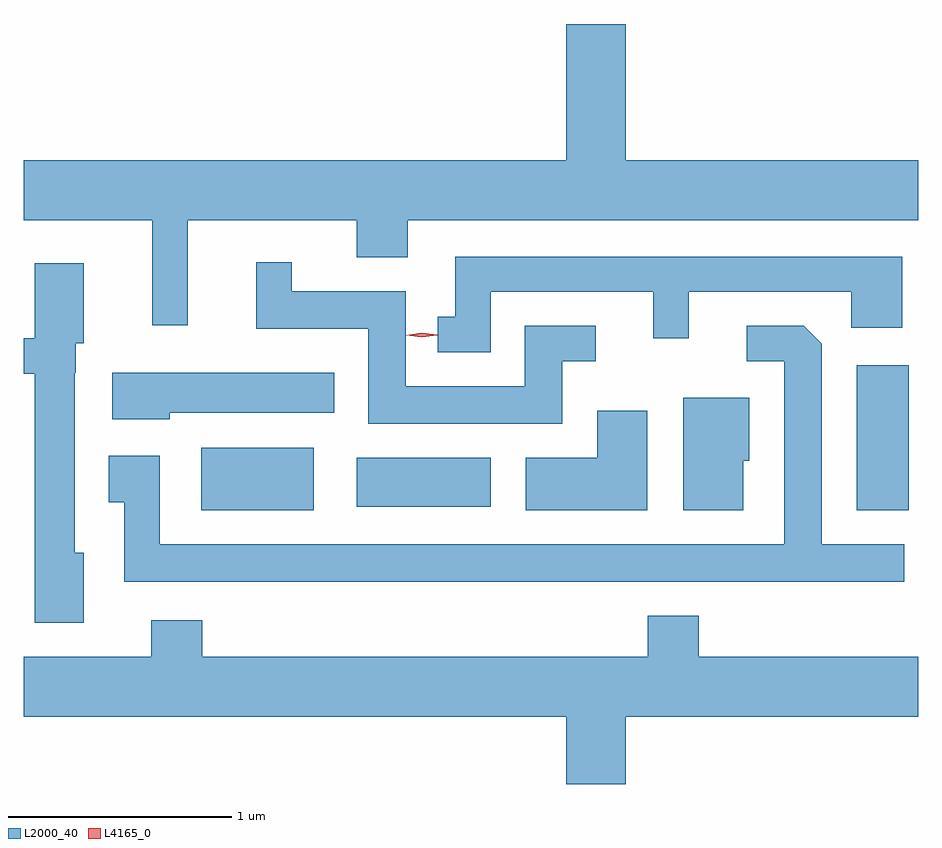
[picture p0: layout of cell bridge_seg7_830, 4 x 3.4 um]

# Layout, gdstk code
import gdstk
lib = gdstk.Library(unit=1e-6, precision=1e-09)
def R(c, l, rs):  # rectangles x0, y0, x1, y1
    for r in rs: c.add(gdstk.rectangle(r[:2], r[2:], *l))
def P(c, l, *ps):  # polygons
    for p in ps: c.add(gdstk.Polygon(p, *l))
L2000_40 = (2000, 40)
L4165_0 = (4165, 0)

bridge_seg7_830 = lib.new_cell('bridge_seg7_830')
R(bridge_seg7_830, L2000_40, [(313.346,1673.061,313.849,1673.339), (316.276,1673.061,316.509,1673.709), (314.041,1673.076,314.639,1673.294)])
P(bridge_seg7_830, L2000_40, [(313.284,1674.356),(314.041,1674.356),(314.041,1674.191),(314.269,1674.191),(314.269,1674.356),(316.551,1674.356),(316.551,1674.624),(315.244,1674.624),(315.244,1675.234),(314.976,1675.234),(314.976,1674.624),(312.551,1674.624),(312.551,1674.356),(313.126,1674.356),(313.126,1673.888),(313.284,1673.888)],
  [(314.639,1674.036),(315.366,1674.036),(315.366,1673.828),(315.524,1673.828),(315.524,1674.036),(316.251,1674.036),(316.251,1673.876),(316.479,1673.876),(316.479,1674.194),(314.481,1674.194),(314.481,1673.924),(314.403,1673.924),(314.403,1673.766),(314.639,1673.766)],
  [(314.959,1673.726),(315.108,1673.726),(315.108,1673.884),(314.791,1673.884),(314.791,1673.614),(314.259,1673.614),(314.259,1674.039),(313.749,1674.039),(313.749,1674.168),(313.591,1674.168),(313.591,1673.871),(314.091,1673.871),(314.091,1673.446),(314.959,1673.446)],
  [(312.819,1672.869),(312.779,1672.869),(312.779,1673.675),(312.784,1673.675),(312.784,1673.806),(312.819,1673.806),(312.819,1674.164),(312.601,1674.164),(312.601,1673.829),(312.551,1673.829),(312.551,1673.671),(312.601,1673.671),(312.601,1672.556),(312.819,1672.556)],
  [(316.488,1672.909),(316.119,1672.909),(316.119,1673.804),(316.039,1673.884),(315.783,1673.884),(315.783,1673.726),(315.951,1673.726),(315.951,1672.909),(313.159,1672.909),(313.159,1673.304),(312.931,1673.304),(312.931,1673.096),(313.001,1673.096),(313.001,1672.741),(316.488,1672.741)],
  [(313.204,1673.496),(313.939,1673.496),(313.939,1673.674),(312.946,1673.674),(312.946,1673.466),(313.204,1673.466)],
  [(315.769,1673.281),(315.794,1673.281),(315.794,1673.564),(315.501,1673.564),(315.501,1673.061),(315.769,1673.061)],
  [(315.339,1673.504),(315.116,1673.504),(315.116,1673.294),(314.796,1673.294),(314.796,1673.061),(315.339,1673.061)],
  [(315.244,1672.136),(316.551,1672.136),(316.551,1672.404),(315.569,1672.404),(315.569,1672.589),(315.341,1672.589),(315.341,1672.404),(313.349,1672.404),(313.349,1672.569),(313.121,1672.569),(313.121,1672.404),(312.551,1672.404),(312.551,1672.136),(314.976,1672.136),(314.976,1671.836),(315.244,1671.836)])
P(bridge_seg7_830, L4165_0, [(314.331,1673.833),(314.262,1673.842),(314.262,1673.843),(314.262,1673.843),(314.331,1673.853),(314.401,1673.844),(314.401,1673.844),(314.401,1673.843)])

lib.write_gds('bridge_seg7_830.gds')
